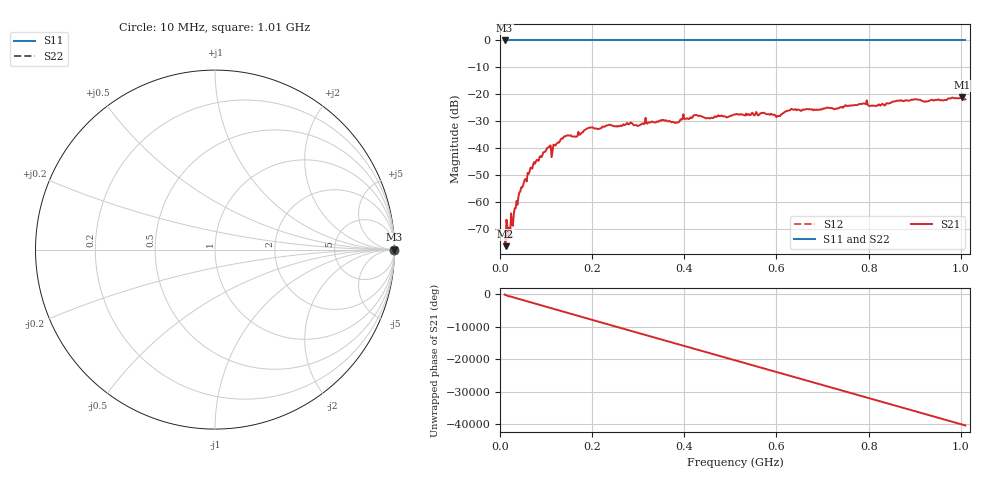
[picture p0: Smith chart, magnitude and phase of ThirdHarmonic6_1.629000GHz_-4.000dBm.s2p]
! 8/16/2025 7:27:54 PM
! C:\ANRITSUVNA\TEMP\TEMP.S2P
! CHANNEL.1
! TR.MEASUREMENT
! RAW.DATA
! RF.CORRECTION.OFF
! AVERAGING.OFF
! IF.BANDWIDTH: 5KHZ
! SWEEPTYPE:  FREQ.SWEEP(Linear)
! Reference Plane Port Info
! PORT:  PORT1  PORT2
! DISTANCE:  0  m  0  m
! TIME:  0  s  0  s
! PHASE.OFFSET:  0  deg.  0  deg.
! LOSS:  0  dB  0  dB
! REF.LOSS:  0  dB  0  dB
! REF.FREQ:  0  Hz  0  Hz
! Power Info
! POWER:  -20  dBm  -20  dBm
! EFF.POWER:  -20  dBm  -20  dBm
! SOURCE.ATTEN:  0  dB  0  dB
! TEST.ATTEN:  0  dB  0  dB
# GHZ S RI R 50.0
! FREQ.GHZ  S11RE  S11IM  S21RE  S21IM  S12RE  S12IM  S22RE  S22IM
!; PortSelection: Port_12
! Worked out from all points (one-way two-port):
!   501 points, 10 MHz to 1.01 GHz, reference 50 ohm
!   highest |S21| = -21.03 dB at 1.002 GHz (marker M1); lowest = -76.4 dB at 12 MHz (marker M2)
!   lowest |S11| = 0.0 dB at 10 MHz (marker M3)
!   |S11| at or under -10 dB: nowhere
!   |S22| runs from 0.0 to 0.0 dB; largest |S21 - S12| = 1.1
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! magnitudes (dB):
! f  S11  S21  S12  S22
! 10 MHz  0.0  -72.7  0.0  0.0
! 12 MHz  0.0  -76.4  0.0  0.0
! 24 MHz  0.0  -64.2  0.0  0.0
! 40 MHz  0.0  -57.9  0.0  0.0
! 50 MHz  0.0  -53.9  0.0  0.0
! 76 MHz  0.0  -45.8  0.0  0.0
! 106 MHz  0.0  -39.7  0.0  0.0
! 116 MHz  0.0  -38.7  0.0  0.0
! 142 MHz  0.0  -35.6  0.0  0.0
! 178 MHz  0.0  -34.2  0.0  0.0
! 196 MHz  0.0  -32.4  0.0  0.0
! 344 MHz  0.0  -30.2  0.0  0.0
! 384 MHz  0.0  -30.4  0.0  0.0
! 424 MHz  0.0  -27.8  0.0  0.0
! 452 MHz  0.0  -28.8  0.0  0.0
! 510 MHz  0.0  -27.5  0.0  0.0
! 604 MHz  0.0  -28.0  0.0  0.0
! 630 MHz  0.0  -25.8  0.0  0.0
! 678 MHz  0.0  -25.6  0.0  0.0
! 844 MHz  0.0  -23.4  0.0  0.0
! 1.002 GHz  0.0  -21.0  0.0  0.0
! 1.01 GHz  0.0  -21.8  0.0  0.0
